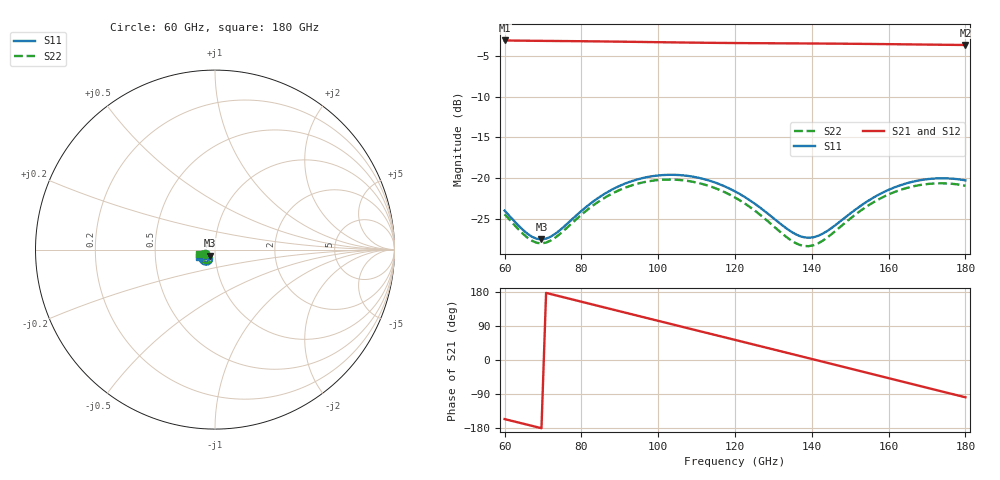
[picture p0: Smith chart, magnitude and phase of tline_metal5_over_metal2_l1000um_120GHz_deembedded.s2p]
! Created with skrf 2.0.1 (http://scikit-rf.org).
# GHz S DB R 50.0
!freq dBS11 angS11 dBS21 angS21 dBS12 angS12 dBS22 angS22
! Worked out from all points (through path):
!   101 points, 60 GHz to 180 GHz, reference 50 ohm
!   highest |S21| = -3.07 dB at 60 GHz (marker M1); lowest = -3.6 dB at 180 GHz (marker M2)
!   group delay of S21, straight-line fit = 7 ps
!   lowest |S11| = -27.5 dB at 69.6 GHz (marker M3), VSWR 1.09, Z = 47.4 - j3.14 ohm
!   |S11| at or under -10 dB: start of sweep to end of sweep
!   |S22| runs from -28.4 to -20.2 dB; largest |S21 - S12| = 1.2e-13
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60  -24.00 -152.3  -3.07 -156.0  -3.07 -156.0  -24.43 -154.6
66  -26.86 -141.8  -3.10 -170.9  -3.10 -170.9  -27.35 -144.2
69.6  -27.53 -128.1  -3.12 -180.0  -3.12 -180.0  -28.02 -130.5
73.2  -26.84 -115.0  -3.13 171.0  -3.13 171.0  -27.31 -117.7
80.4  -23.87 -105.9  -3.17 152.8  -3.17 152.8  -24.34 -109.3
85.2  -22.18 -108.7  -3.19 140.7  -3.19 140.7  -22.66 -112.5
91.2  -20.70 -116.4  -3.23 125.5  -3.23 125.5  -21.21 -120.8
100.8  -19.64 -132.4  -3.29 101.3  -3.29 101.3  -20.20 -137.7
105.6  -19.63 -140.7  -3.32 89.2  -3.32 89.2  -20.23 -146.4
110.4  -19.95 -148.7  -3.34 77.2  -3.34 77.2  -20.59 -154.9
120  -21.63 -162.0  -3.39 53.1  -3.39 53.1  -22.38 -169.0
126  -23.44 -166.0  -3.41 38.0  -3.41 38.0  -24.30 -173.4
130.8  -25.22 -164.1  -3.42 25.9  -3.42 25.9  -26.22 -171.3
136.8  -27.11 -151.2  -3.43 10.8  -3.43 10.8  -28.20 -157.2
140.4  -27.27 -139.3  -3.44 1.7  -3.44 1.7  -28.26 -144.3
144  -26.50 -128.9  -3.45 -7.4  -3.45 -7.4  -27.31 -133.8
150  -24.35 -121.1  -3.48 -22.6  -3.48 -22.6  -24.98 -127.0
154.8  -22.75 -121.7  -3.50 -34.8  -3.50 -34.8  -23.33 -128.5
160.8  -21.28 -127.0  -3.53 -50.0  -3.53 -50.0  -21.85 -134.8
170.4  -20.11 -139.9  -3.58 -74.2  -3.58 -74.2  -20.71 -148.9
175.2  -20.03 -147.0  -3.60 -86.3  -3.60 -86.3  -20.65 -156.5
180  -20.27 -153.9  -3.63 -98.4  -3.63 -98.4  -20.93 -164.0
